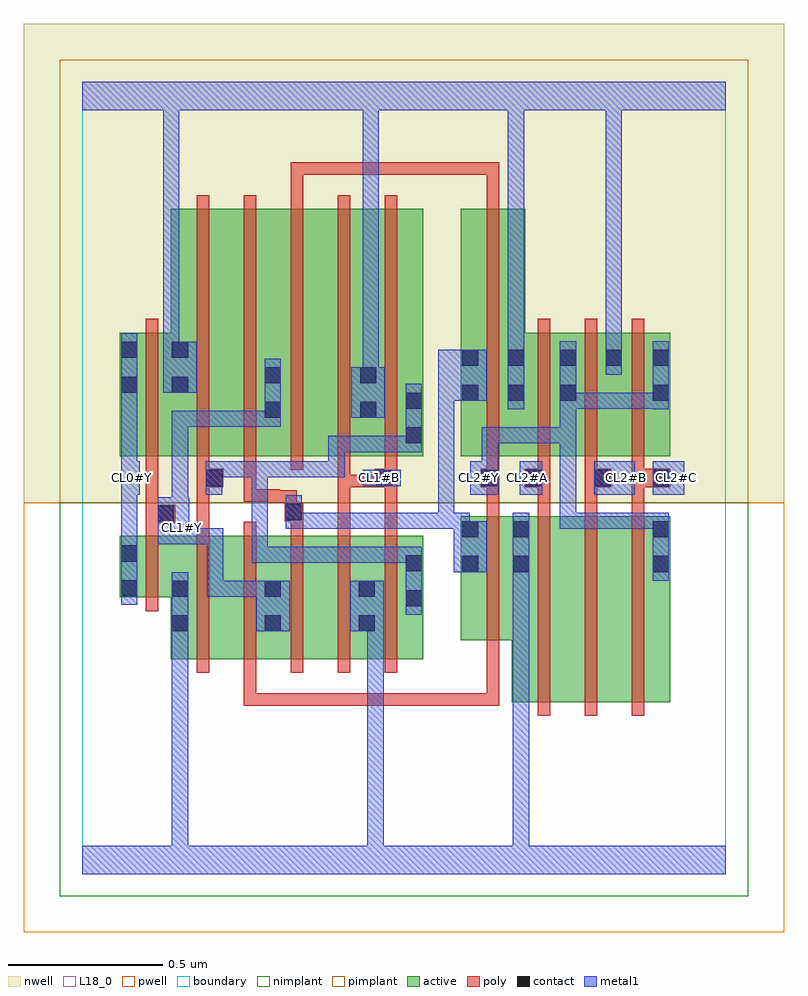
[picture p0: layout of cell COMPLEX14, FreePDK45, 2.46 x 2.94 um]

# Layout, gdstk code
import gdstk
lib = gdstk.Library(unit=1e-6, precision=1e-09)
def R(c, l, rs):  # rectangles x0, y0, x1, y1
    for r in rs: c.add(gdstk.rectangle(r[:2], r[2:], *l))
def A(c, l, x, y, w, h, nx, ny, dx, dy):  # array of equal rectangles
    R(c, l, [(x+i*dx, y+j*dy, x+i*dx+w, y+j*dy+h) for i in range(nx) for j in range(ny)])
active = (1, 0)
pwell = (2, 0)
nwell = (3, 0)
nimplant = (4, 0)
pimplant = (5, 0)
poly = (9, 0)
contact = (10, 0)
metal1 = (11, 0)
L18_0 = (18, 0)
boundary = (235, 0)

complex14 = lib.new_cell('COMPLEX14')
R(complex14, active, [(1.388,0.556,1.568,1.156), (1.568,0.556,1.72,1.156), (1.72,0.556,1.9,1.156), (1.84,0.556,1.9,1.156), (0.286,0.694,0.466,1.094), (0.466,0.694,0.646,1.094), (0.586,0.694,0.77,1.094), (0.77,0.694,0.95,1.094), (0.89,0.694,1.102,1.094), (0.586,0.756,0.646,0.952), (0.89,0.756,0.95,0.952), (1.042,0.756,1.102,1.094), (1.224,0.756,1.284,1.156), (1.224,0.756,1.448,1.156), (1.388,0.756,1.448,1.156), (0.286,0.78,0.346,1.028), (0.122,0.894,0.346,1.094), (0.122,0.894,0.182,1.094), (0.122,1.35,0.182,1.75), (0.122,1.35,0.346,1.75), (0.286,1.35,0.466,2.15), (0.466,1.35,0.646,2.15), (0.586,1.35,0.646,2.044), (0.586,1.35,0.77,2.15), (0.77,1.35,0.954,2.15), (0.894,1.35,1.102,2.15), (0.894,1.35,0.954,2.15), (1.042,1.35,1.102,2.044), (1.224,1.35,1.432,2.15), (1.224,1.35,1.284,2.044), (1.372,1.35,1.6,1.75), (1.372,1.35,1.432,1.796), (1.54,1.35,1.6,1.698), (1.54,1.35,1.748,1.75), (1.688,1.35,1.9,1.75), (1.688,1.35,1.748,1.698), (1.84,1.35,1.9,1.698), (0.286,1.468,0.346,2.15)])
R(complex14, pwell, [(-0.188,-0.188,2.268,1.2)])
R(complex14, nwell, [(-0.188,1.2,2.268,2.748)])
R(complex14, nimplant, [(-0.072,-0.072,2.152,1.2)])
R(complex14, pimplant, [(-0.072,1.2,2.152,2.632)])
A(complex14, poly, 1.472, 0.512, 0.04, 0.688, 3, 1, 0.152, 0)
A(complex14, poly, 0.37, 0.65, 0.04, 0.488, 5, 1, 0.152, 0)
A(complex14, poly, 1.472, 1.16, 0.04, 0.13, 3, 1, 0.152, 0)
A(complex14, poly, 1.472, 1.27, 0.04, 0.076, 3, 1, 0.152, 0)
A(complex14, poly, 0.37, 1.306, 0.04, 0.888, 5, 1, 0.152, 0)
A(complex14, poly, 1.472, 1.306, 0.04, 0.488, 3, 1, 0.152, 0)
R(complex14, poly, [(0.522,0.544,0.562,0.584), (0.522,0.544,0.562,0.584), (0.522,0.544,0.562,0.584), (0.522,0.544,0.562,0.69), (0.522,0.544,0.76,0.584), (0.72,0.544,0.76,0.584), (0.72,0.544,0.76,0.584), (0.72,0.544,0.76,0.584), (0.72,0.544,0.866,0.584), (0.826,0.544,0.866,0.584), (0.826,0.544,0.866,0.584), (0.826,0.544,0.866,0.584), (0.826,0.544,1.092,0.584), (1.052,0.544,1.092,0.584), (1.052,0.544,1.092,0.584), (1.052,0.544,1.092,0.584), (1.052,0.544,1.348,0.584), (1.308,0.544,1.348,0.584), (1.308,0.544,1.348,0.584), (1.308,0.544,1.348,0.584), (1.308,0.544,1.348,0.752), (1.308,0.712,1.348,1.2), (0.206,0.85,0.246,1.138), (0.206,1.098,0.246,1.174), (0.37,1.098,0.41,1.29), (0.674,1.098,0.714,1.18), (0.826,1.098,0.866,1.29), (0.978,1.098,1.018,1.29), (0.206,1.134,0.3,1.194), (0.654,1.14,0.714,1.2), (0.206,1.154,0.246,1.194), (0.206,1.154,0.246,1.194), (0.206,1.154,0.246,1.346), (0.654,1.16,0.694,1.24), (1.308,1.16,1.348,1.29), (0.598,1.2,0.694,1.24), (0.598,1.2,0.638,1.244), (0.654,1.2,0.694,1.24), (0.522,1.204,0.562,1.244), (0.522,1.204,0.638,1.244), (0.522,1.204,0.562,1.346), (0.37,1.25,0.41,1.29), (0.37,1.25,0.41,1.29), (0.37,1.25,0.456,1.31), (0.826,1.25,0.866,1.29), (0.826,1.25,0.866,1.29), (0.826,1.25,0.866,1.29), (0.826,1.25,0.986,1.29), (0.826,1.25,0.866,1.346), (0.946,1.25,0.986,1.29), (0.946,1.25,0.986,1.29), (0.946,1.25,1.018,1.31), (0.978,1.25,1.018,1.29), (0.978,1.25,1.018,1.29), (1.288,1.25,1.348,1.31), (1.308,1.25,1.348,1.29), (1.308,1.25,1.348,1.29), (1.43,1.25,1.512,1.31), (1.624,1.25,1.664,1.29), (1.624,1.25,1.664,1.29), (1.624,1.25,1.71,1.31), (1.776,1.25,1.816,1.29), (1.776,1.25,1.816,1.29), (1.776,1.25,1.9,1.31), (0.37,1.27,0.41,1.346), (0.978,1.27,1.018,1.346), (1.308,1.27,1.348,1.346), (1.472,1.27,1.512,1.31), (1.472,1.27,1.512,1.31), (0.206,1.306,0.246,1.794), (1.308,1.306,1.348,2.194), (0.674,2.154,0.714,2.3), (1.308,2.154,1.348,2.3), (0.674,2.26,0.714,2.3), (0.674,2.26,0.744,2.3), (0.704,2.26,0.744,2.3), (0.704,2.26,0.88,2.3), (0.84,2.26,0.88,2.3), (0.84,2.26,0.88,2.3), (0.84,2.26,0.88,2.3), (0.84,2.26,1.092,2.3), (1.052,2.26,1.092,2.3), (1.052,2.26,1.092,2.3), (1.052,2.26,1.092,2.3), (1.052,2.26,1.348,2.3), (1.308,2.26,1.348,2.3), (1.308,2.26,1.348,2.3), (1.308,2.26,1.348,2.3)])
R(complex14, contact, [(0.29,0.784,0.342,0.836), (0.59,0.784,0.642,0.836), (0.894,0.784,0.946,0.836), (1.046,0.866,1.098,0.918), (0.29,0.896,0.342,0.948), (0.59,0.896,0.642,0.948), (0.894,0.896,0.946,0.948), (0.126,0.898,0.178,0.95), (1.228,0.976,1.28,1.028), (1.392,0.976,1.444,1.028), (1.844,0.976,1.896,1.028), (1.046,0.978,1.098,1.03), (0.126,1.01,0.178,1.062), (1.228,1.088,1.28,1.14), (1.392,1.088,1.444,1.14), (1.844,1.088,1.896,1.14), (0.244,1.138,0.296,1.19), (0.658,1.144,0.71,1.196), (0.4,1.254,0.452,1.306), (0.95,1.254,1.002,1.306), (1.292,1.254,1.344,1.306), (1.434,1.254,1.486,1.306), (1.654,1.254,1.706,1.306), (1.844,1.254,1.896,1.306), (1.046,1.392,1.098,1.444), (0.59,1.474,0.642,1.526), (0.898,1.474,0.95,1.526), (1.046,1.504,1.098,1.556), (1.228,1.53,1.28,1.582), (1.376,1.53,1.428,1.582), (1.544,1.53,1.596,1.582), (1.844,1.53,1.896,1.582), (0.126,1.556,0.178,1.608), (0.29,1.556,0.342,1.608), (0.59,1.586,0.642,1.638), (0.898,1.586,0.95,1.638), (1.228,1.642,1.28,1.694), (1.376,1.642,1.428,1.694), (1.544,1.642,1.596,1.694), (1.692,1.642,1.744,1.694), (1.844,1.642,1.896,1.694), (0.126,1.668,0.178,1.72), (0.29,1.668,0.342,1.72)])
R(complex14, metal1, [(0,0,2.08,0.092), (0.29,0.04,0.342,0.092), (0.29,0.04,0.342,0.092), (0.29,0.04,0.342,0.092), (0.29,0.04,0.342,0.092), (0.29,0.04,0.342,0.092), (0.29,0.04,0.342,0.092), (0.29,0.04,0.342,0.092), (0.29,0.04,0.342,0.092), (0.29,0.04,0.342,0.092), (0.29,0.04,0.342,0.092), (0.29,0.04,0.342,0.092), (0.29,0.04,0.342,0.092), (0.29,0.04,0.342,0.808), (0.922,0.04,0.974,0.092), (0.922,0.04,0.974,0.092), (0.922,0.04,0.974,0.092), (0.922,0.04,0.974,0.092), (0.922,0.04,0.974,0.092), (0.922,0.04,0.974,0.092), (0.922,0.04,0.974,0.092), (0.922,0.04,0.974,0.092), (0.922,0.04,0.974,0.092), (0.922,0.04,0.974,0.092), (0.922,0.04,0.974,0.092), (0.922,0.04,0.974,0.092), (0.922,0.04,0.974,0.836), (1.392,0.04,1.444,0.092), (1.392,0.04,1.444,0.092), (1.392,0.04,1.444,1), (0.29,0.756,0.342,0.976), (0.562,0.784,0.67,0.948), (0.866,0.784,0.974,0.948), (1.046,0.838,1.098,1.058), (0.126,0.87,0.178,1.09), (0.404,0.896,0.456,0.948), (0.404,0.896,0.456,0.948), (0.404,0.896,0.456,0.948), (0.404,0.896,0.6,0.948), (0.404,0.896,0.456,1.118), (0.548,0.896,0.6,0.948), (0.548,0.896,0.614,0.948), (1.392,0.948,1.444,1), (1.392,0.948,1.444,1), (1.392,0.948,1.444,1), (1.392,0.948,1.444,1), (1.392,0.948,1.444,1), (1.392,0.948,1.444,1), (1.392,0.948,1.444,1.168), (1.844,0.948,1.896,1.168), (1.2,0.976,1.308,1.14), (0.548,1.006,0.6,1.058), (0.548,1.006,0.6,1.058), (0.548,1.006,0.6,1.058), (0.548,1.006,0.6,1.334), (0.548,1.006,0.738,1.058), (0.686,1.006,0.738,1.058), (0.686,1.006,0.738,1.058), (0.686,1.006,0.738,1.058), (0.686,1.006,0.848,1.058), (0.796,1.006,0.848,1.058), (0.796,1.006,0.848,1.058), (0.796,1.006,0.848,1.058), (0.796,1.006,0.958,1.058), (0.906,1.006,0.958,1.058), (0.906,1.006,1.098,1.058), (0.126,1.038,0.178,1.278), (0.244,1.066,0.346,1.218), (0.29,1.066,0.342,1.118), (0.29,1.066,0.342,1.118), (0.29,1.066,0.342,1.118), (0.29,1.066,0.346,1.118), (0.29,1.066,0.342,1.498), (0.294,1.066,0.456,1.118), (0.404,1.066,0.456,1.118), (0.404,1.066,0.456,1.118), (0.404,1.066,0.456,1.118), (1.2,1.088,1.252,1.168), (0.658,1.116,0.71,1.168), (0.658,1.116,0.71,1.168), (0.658,1.116,0.71,1.224), (0.658,1.116,0.848,1.168), (0.796,1.116,0.848,1.168), (0.796,1.116,0.848,1.168), (0.796,1.116,0.848,1.168), (0.796,1.116,1.038,1.168), (0.986,1.116,1.038,1.168), (0.986,1.116,1.038,1.168), (0.986,1.116,1.038,1.168), (0.986,1.116,1.202,1.168), (1.15,1.116,1.202,1.168), (1.15,1.116,1.202,1.168), (1.15,1.116,1.202,1.582), (1.15,1.116,1.252,1.168), (1.544,1.116,1.596,1.168), (1.544,1.116,1.596,1.168), (1.544,1.116,1.596,1.168), (1.544,1.116,1.706,1.168), (1.544,1.116,1.596,1.444), (1.654,1.116,1.706,1.168), (1.654,1.116,1.706,1.168), (1.654,1.116,1.706,1.168), (1.654,1.116,1.896,1.168), (1.844,1.116,1.896,1.168), (1.844,1.116,1.896,1.168), (0.126,1.226,0.186,1.334), (0.4,1.226,0.452,1.334), (1.254,1.226,1.344,1.334), (1.414,1.226,1.486,1.334), (1.654,1.226,1.786,1.334), (1.844,1.226,1.946,1.334), (0.906,1.254,1.03,1.306), (0.126,1.282,0.178,1.58), (0.4,1.282,0.456,1.334), (0.404,1.282,0.456,1.334), (0.404,1.282,0.6,1.334), (0.548,1.282,0.6,1.334), (0.548,1.282,0.6,1.334), (0.548,1.282,0.6,1.334), (0.548,1.282,0.71,1.334), (0.658,1.282,0.71,1.334), (0.658,1.282,0.71,1.334), (0.658,1.282,0.71,1.334), (0.658,1.282,0.848,1.334), (0.796,1.282,0.848,1.334), (0.796,1.282,0.848,1.334), (0.796,1.282,0.848,1.334), (0.796,1.282,0.848,1.416), (1.292,1.282,1.344,1.334), (1.292,1.282,1.344,1.444), (0.796,1.364,0.848,1.416), (0.796,1.364,0.958,1.416), (0.906,1.364,0.958,1.416), (0.906,1.364,1.098,1.416), (1.046,1.364,1.098,1.584), (1.292,1.392,1.596,1.444), (1.544,1.392,1.596,1.444), (1.544,1.392,1.596,1.444), (1.544,1.392,1.596,1.444), (1.544,1.392,1.596,1.554), (0.29,1.446,0.342,1.498), (0.29,1.446,0.456,1.498), (0.404,1.446,0.456,1.498), (0.404,1.446,0.456,1.498), (0.404,1.446,0.456,1.498), (0.404,1.446,0.6,1.498), (0.548,1.446,0.6,1.498), (0.548,1.446,0.642,1.498), (0.59,1.446,0.642,1.666), (0.87,1.474,0.978,1.638), (1.376,1.502,1.428,1.722), (1.544,1.502,1.596,1.722), (1.844,1.502,1.896,1.722), (1.544,1.504,1.786,1.556), (1.734,1.504,1.786,1.556), (1.734,1.504,1.786,1.556), (1.734,1.504,1.786,1.556), (1.734,1.504,1.896,1.556), (1.844,1.504,1.896,1.556), (1.844,1.504,1.896,1.556), (0.126,1.528,0.178,1.58), (0.126,1.528,0.178,1.58), (0.126,1.528,0.178,1.748), (1.15,1.53,1.308,1.694), (0.262,1.556,0.37,1.72), (0.906,1.586,0.958,2.52), (1.692,1.614,1.744,1.722), (0.262,1.668,0.314,2.52), (1.376,1.67,1.428,1.722), (1.376,1.67,1.428,1.722), (1.376,1.67,1.428,1.722), (1.376,1.67,1.428,1.722), (1.376,1.67,1.428,1.722), (1.376,1.67,1.428,1.722), (1.376,1.67,1.428,2.52), (1.692,1.67,1.744,1.722), (1.692,1.67,1.744,1.722), (1.692,1.67,1.744,1.722), (1.692,1.67,1.744,1.722), (1.692,1.67,1.744,1.722), (1.692,1.67,1.744,1.722), (1.692,1.67,1.744,1.722), (1.692,1.67,1.744,1.722), (1.692,1.67,1.744,1.722), (1.692,1.67,1.744,1.722), (1.692,1.67,1.744,1.722), (1.692,1.67,1.744,1.722), (1.692,1.67,1.744,1.722), (1.692,1.67,1.744,1.722), (1.692,1.67,1.744,2.52), (0,2.468,2.08,2.56), (0.262,2.468,0.314,2.52), (0.262,2.468,0.314,2.52), (0.262,2.468,0.314,2.52), (0.262,2.468,0.314,2.52), (0.262,2.468,0.314,2.52), (0.262,2.468,0.314,2.52), (0.262,2.468,0.314,2.52), (0.262,2.468,0.314,2.52), (0.906,2.468,0.958,2.52), (0.906,2.468,0.958,2.52), (0.906,2.468,0.958,2.52), (0.906,2.468,0.958,2.52), (0.906,2.468,0.958,2.52), (0.906,2.468,0.958,2.52), (0.906,2.468,0.958,2.52), (0.906,2.468,0.958,2.52), (1.376,2.468,1.428,2.52), (1.376,2.468,1.428,2.52), (1.692,2.468,1.744,2.52), (1.692,2.468,1.744,2.52)])
R(complex14, L18_0, [(0,0,2.08,0.092), (0.29,0.04,0.342,0.092), (0.29,0.04,0.342,0.092), (0.29,0.04,0.342,0.092), (0.29,0.04,0.342,0.092), (0.29,0.04,0.342,0.092), (0.29,0.04,0.342,0.092), (0.29,0.04,0.342,0.092), (0.29,0.04,0.342,0.092), (0.29,0.04,0.342,0.092), (0.29,0.04,0.342,0.092), (0.29,0.04,0.342,0.092), (0.29,0.04,0.342,0.092), (0.29,0.04,0.342,0.808), (0.922,0.04,0.974,0.092), (0.922,0.04,0.974,0.092), (0.922,0.04,0.974,0.092), (0.922,0.04,0.974,0.092), (0.922,0.04,0.974,0.092), (0.922,0.04,0.974,0.092), (0.922,0.04,0.974,0.092), (0.922,0.04,0.974,0.092), (0.922,0.04,0.974,0.092), (0.922,0.04,0.974,0.092), (0.922,0.04,0.974,0.092), (0.922,0.04,0.974,0.092), (0.922,0.04,0.974,0.836), (1.392,0.04,1.444,0.092), (1.392,0.04,1.444,0.092), (1.392,0.04,1.444,1), (0.29,0.756,0.342,0.976), (0.562,0.784,0.67,0.948), (0.866,0.784,0.974,0.948), (0.126,0.87,0.178,1.09), (0.404,0.896,0.456,0.948), (0.404,0.896,0.456,0.948), (0.404,0.896,0.456,0.948), (0.404,0.896,0.456,1.118), (0.404,0.896,0.6,0.948), (0.548,0.896,0.6,0.948), (0.548,0.896,0.614,0.948), (1.392,0.948,1.444,1.168), (1.392,0.948,1.444,1), (1.392,0.948,1.444,1), (1.392,0.948,1.444,1), (1.392,0.948,1.444,1), (1.392,0.948,1.444,1), (1.392,0.948,1.444,1), (1.844,0.948,1.896,1.168), (0.126,1.038,0.178,1.278), (0.244,1.066,0.346,1.218), (0.29,1.066,0.342,1.118), (0.29,1.066,0.342,1.118), (0.29,1.066,0.342,1.118), (0.29,1.066,0.346,1.118), (0.29,1.066,0.342,1.498), (0.294,1.066,0.456,1.118), (0.404,1.066,0.456,1.118), (0.404,1.066,0.456,1.118), (0.404,1.066,0.456,1.118), (0.294,1.094,0.346,1.146), (1.544,1.116,1.596,1.168), (1.544,1.116,1.596,1.168), (1.544,1.116,1.596,1.168), (1.544,1.116,1.706,1.168), (1.544,1.116,1.596,1.444), (1.654,1.116,1.706,1.168), (1.654,1.116,1.706,1.168), (1.654,1.116,1.706,1.168), (1.654,1.116,1.896,1.168), (1.844,1.116,1.896,1.168), (1.844,1.116,1.896,1.168), (0.126,1.226,0.186,1.334), (1.254,1.226,1.344,1.334), (1.414,1.226,1.486,1.334), (1.654,1.226,1.786,1.334), (1.844,1.226,1.946,1.334), (0.134,1.254,0.186,1.306), (0.906,1.254,1.03,1.306), (0.934,1.254,0.986,1.306), (1.254,1.254,1.306,1.306), (1.414,1.254,1.466,1.306), (1.734,1.254,1.786,1.306), (1.894,1.254,1.946,1.306), (0.126,1.282,0.178,1.58), (1.292,1.282,1.344,1.334), (1.292,1.282,1.344,1.444), (1.292,1.392,1.596,1.444), (1.544,1.392,1.596,1.444), (1.544,1.392,1.596,1.444), (1.544,1.392,1.596,1.444), (1.544,1.392,1.596,1.554), (0.29,1.446,0.342,1.498), (0.29,1.446,0.456,1.498), (0.404,1.446,0.456,1.498), (0.404,1.446,0.456,1.498), (0.404,1.446,0.456,1.498), (0.404,1.446,0.6,1.498), (0.548,1.446,0.6,1.498), (0.548,1.446,0.642,1.498), (0.59,1.446,0.642,1.666), (0.87,1.474,0.978,1.638), (1.376,1.502,1.428,1.722), (1.544,1.502,1.596,1.722), (1.844,1.502,1.896,1.722), (1.544,1.504,1.786,1.556), (1.734,1.504,1.786,1.556), (1.734,1.504,1.786,1.556), (1.734,1.504,1.786,1.556), (1.734,1.504,1.896,1.556), (1.844,1.504,1.896,1.556), (1.844,1.504,1.896,1.556), (0.126,1.528,0.178,1.748), (0.126,1.528,0.178,1.58), (0.126,1.528,0.178,1.58), (0.262,1.556,0.37,1.72), (0.906,1.586,0.958,2.52), (1.692,1.614,1.744,1.722), (0.262,1.668,0.314,2.52), (1.376,1.67,1.428,1.722), (1.376,1.67,1.428,1.722), (1.376,1.67,1.428,1.722), (1.376,1.67,1.428,1.722), (1.376,1.67,1.428,1.722), (1.376,1.67,1.428,1.722), (1.376,1.67,1.428,2.52), (1.692,1.67,1.744,1.722), (1.692,1.67,1.744,1.722), (1.692,1.67,1.744,1.722), (1.692,1.67,1.744,1.722), (1.692,1.67,1.744,1.722), (1.692,1.67,1.744,1.722), (1.692,1.67,1.744,1.722), (1.692,1.67,1.744,1.722), (1.692,1.67,1.744,1.722), (1.692,1.67,1.744,1.722), (1.692,1.67,1.744,1.722), (1.692,1.67,1.744,1.722), (1.692,1.67,1.744,1.722), (1.692,1.67,1.744,1.722), (1.692,1.67,1.744,2.52), (0,2.468,2.08,2.56), (0.262,2.468,0.314,2.52), (0.262,2.468,0.314,2.52), (0.262,2.468,0.314,2.52), (0.262,2.468,0.314,2.52), (0.262,2.468,0.314,2.52), (0.262,2.468,0.314,2.52), (0.262,2.468,0.314,2.52), (0.262,2.468,0.314,2.52), (0.906,2.468,0.958,2.52), (0.906,2.468,0.958,2.52), (0.906,2.468,0.958,2.52), (0.906,2.468,0.958,2.52), (0.906,2.468,0.958,2.52), (0.906,2.468,0.958,2.52), (0.906,2.468,0.958,2.52), (0.906,2.468,0.958,2.52), (1.376,2.468,1.428,2.52), (1.376,2.468,1.428,2.52), (1.692,2.468,1.744,2.52), (1.692,2.468,1.744,2.52)])
R(complex14, boundary, [(0,0,2.08,2.56)])
complex14.add(gdstk.Label('CL0#Y', (0.16,1.28), layer=11, texttype=0))
complex14.add(gdstk.Label('CL1#B', (0.96,1.28), layer=11, texttype=0))
complex14.add(gdstk.Label('CL1#Y', (0.32,1.12), layer=11, texttype=0))
complex14.add(gdstk.Label('CL2#A', (1.44,1.28), layer=11, texttype=0))
complex14.add(gdstk.Label('CL2#B', (1.76,1.28), layer=11, texttype=0))
complex14.add(gdstk.Label('CL2#C', (1.92,1.28), layer=11, texttype=0))
complex14.add(gdstk.Label('CL2#Y', (1.28,1.28), layer=11, texttype=0))

lib.write_gds('COMPLEX14.gds')
